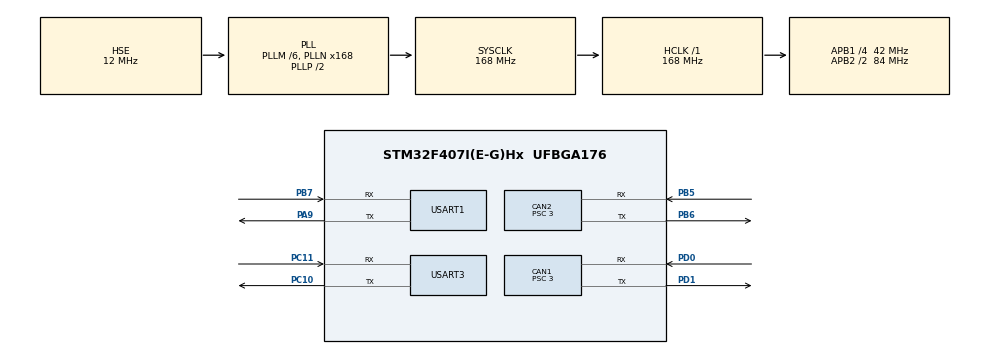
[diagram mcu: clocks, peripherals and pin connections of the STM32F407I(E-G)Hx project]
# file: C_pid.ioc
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CAN1.BS1=CAN_BS1_10TQ
CAN1.BS2=CAN_BS2_3TQ
CAN1.CalculateBaudRate=1000000
CAN1.CalculateTimeBit=1000
CAN1.CalculateTimeQuantum=71.42857142857143
CAN1.Prescaler=3
CAN2.BS1=CAN_BS1_10TQ
CAN2.BS2=CAN_BS2_3TQ
CAN2.CalculateBaudRate=1000000
CAN2.CalculateTimeBit=1000
CAN2.CalculateTimeQuantum=71.42857142857143
CAN2.Prescaler=3
Dma.Request0=USART3_RX
Dma.Request1=USART1_TX
Dma.USART1_TX.1.Direction=DMA_MEMORY_TO_PERIPH
Dma.USART1_TX.1.FIFOMode=DMA_FIFOMODE_DISABLE
Dma.USART1_TX.1.Instance=DMA2_Stream7
Dma.USART1_TX.1.MemDataAlignment=DMA_MDATAALIGN_BYTE
Dma.USART1_TX.1.MemInc=DMA_MINC_ENABLE
Dma.USART1_TX.1.Mode=DMA_NORMAL
Dma.USART1_TX.1.PeriphDataAlignment=DMA_PDATAALIGN_BYTE
Dma.USART1_TX.1.PeriphInc=DMA_PINC_DISABLE
Dma.USART1_TX.1.Priority=DMA_PRIORITY_VERY_HIGH
Dma.USART3_RX.0.Direction=DMA_PERIPH_TO_MEMORY
Dma.USART3_RX.0.FIFOMode=DMA_FIFOMODE_DISABLE
Dma.USART3_RX.0.Instance=DMA1_Stream1
Dma.USART3_RX.0.MemDataAlignment=DMA_MDATAALIGN_BYTE
Dma.USART3_RX.0.MemInc=DMA_MINC_ENABLE
Dma.USART3_RX.0.Mode=DMA_NORMAL
Dma.USART3_RX.0.PeriphDataAlignment=DMA_PDATAALIGN_BYTE
Dma.USART3_RX.0.PeriphInc=DMA_PINC_DISABLE
Dma.USART3_RX.0.Priority=DMA_PRIORITY_VERY_HIGH
Mcu.Family=STM32F4
Mcu.Name=STM32F407I(E-G)Hx
Mcu.Package=UFBGA176
NVIC.CAN1_RX0_IRQn=true\:0\:0\:false\:false\:true\:true\:true\:true
NVIC.CAN2_RX0_IRQn=true\:0\:0\:false\:false\:true\:true\:true\:true
NVIC.DMA1_Stream1_IRQn=true\:0\:0\:false\:false\:true\:false\:true\:true
NVIC.DMA2_Stream7_IRQn=true\:0\:0\:false\:false\:true\:false\:true\:true
NVIC.PriorityGroup=NVIC_PRIORITYGROUP_4
NVIC.USART1_IRQn=true\:0\:0\:false\:false\:true\:false\:true\:true
PA13.Mode=Serial_Wire
PA13.Signal=SYS_JTMS-SWDIO
PA14.Mode=Serial_Wire
PA14.Signal=SYS_JTCK-SWCLK
PA9.Mode=Asynchronous
PA9.Signal=USART1_TX
PB5.Mode=CAN_Activate
PB5.Signal=CAN2_RX
PB6.Mode=CAN_Activate
PB6.Signal=CAN2_TX
PB7.Mode=Asynchronous
PB7.Signal=USART1_RX
PC10.Mode=Asynchronous
PC10.Signal=USART3_TX
PC11.Mode=Asynchronous
PC11.Signal=USART3_RX
PD0.Mode=CAN_Activate
PD0.Signal=CAN1_RX
PD1.Mode=CAN_Activate
PD1.Signal=CAN1_TX
PH0-OSC_IN.Mode=HSE-External-Oscillator
PH0-OSC_IN.Signal=RCC_OSC_IN
PH1-OSC_OUT.Mode=HSE-External-Oscillator
PH1-OSC_OUT.Signal=RCC_OSC_OUT
ProjectManager.HeapSize=0x200
ProjectManager.StackSize=0x400
ProjectManager.TargetToolchain=MDK-ARM V5.32
RCC.48MHZClocksFreq_Value=84000000
RCC.AHBFreq_Value=168000000
RCC.APB1CLKDivider=RCC_HCLK_DIV4
RCC.APB1Freq_Value=42000000
RCC.APB1TimFreq_Value=84000000
RCC.APB2CLKDivider=RCC_HCLK_DIV2
RCC.APB2Freq_Value=84000000
RCC.APB2TimFreq_Value=168000000
RCC.CortexFreq_Value=168000000
RCC.HCLKFreq_Value=168000000
RCC.HSE_VALUE=12000000
RCC.HSI_VALUE=16000000
RCC.LSE_VALUE=32768
RCC.PLLM=6
RCC.PLLN=168
RCC.PLLSourceVirtual=RCC_PLLSOURCE_HSE
RCC.SYSCLKFreq_VALUE=168000000
RCC.SYSCLKSource=RCC_SYSCLKSOURCE_PLLCLK
RCC.VCOOutputFreq_Value=336000000
USART1.VirtualMode=VM_ASYNC
USART3.VirtualMode=VM_ASYNC
board=custom

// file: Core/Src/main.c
/* USER CODE BEGIN Header */
/**
  ******************************************************************************
  * @file           : main.c
  * @brief          : Main program body
  ******************************************************************************
  * @attention
  *
  * Copyright (c) 2025 STMicroelectronics.
  * All rights reserved.
  *
  * This software is licensed under terms that can be found in the LICENSE file
  * in the root directory of this software component.
  * If no LICENSE file comes with this software, it is provided AS-IS.
  *
  ******************************************************************************
  */
/* USER CODE END Header */
#include "main.h"
#include "can.h"
#include "dma.h"
#include "usart.h"
#include "gpio.h"
#include "stdio.h"
#include "stdarg.h"
#include "string.h"
#include "struct_typedef.h"
#include "pid.h"
void usart_printf(const char *format, ...);
/* USER CODE BEGIN Includes */
#include "bsp_can.h"
#include "CAN_receive.h"
/* USER CODE END Includes */

/* USER CODE BEGIN PD */
#define PID_KP 5.0f
#define PID_KI 0.0f
#define PID_KD 0.0f
#define PID_MAX_OUT 16384.0f
#define PID_MAX_IOUT 9000.0f

/* USER CODE END PD */

void SystemClock_Config(void);
/* USER CODE BEGIN PFP */
void speed_motor_init(void);
int16_t speed_motor_loop(int16_t motor_speed_set);
/* USER CODE END PFP */

/* USER CODE BEGIN 0 */
int16_t set_speed = 8000;
const motor_measure_t *local_trigger;
pid_type_def motor_pid;
int16_t motor_given_current = 0;
/* USER CODE END 0 */

int main(void)
{

  /* MCU Configuration--------------------------------------------------------*/

  /* Reset of all peripherals, Initializes the Flash interface and the Systick. */
  HAL_Init();

  /* Configure the system clock */
  SystemClock_Config();

  /* Initialize all configured peripherals */
  MX_GPIO_Init();
  MX_DMA_Init();
  MX_CAN1_Init();
  MX_CAN2_Init();
  MX_USART1_UART_Init();
  MX_USART3_UART_Init();
  /* USER CODE BEGIN 2 */
    can_filter_init();
		local_trigger = get_yaw_gimbal_motor_measure_point();
    speed_motor_init();
    set_speed = 2000;
    HAL_Delay(200);
  /* USER CODE END 2 */

  /* Infinite loop */
  while (1)
  {

    /* USER CODE BEGIN 3 */
//		HAL_UART_Transmit(&huart1, (uint8_t *)"ABCDEF\r\n", 8, 100);
//		HAL_Delay(200);
				motor_given_current = (int16_t)(PID_calc(&motor_pid,(fp32)(local_trigger->speed_rpm),(fp32)(set_speed)));
				CAN_cmd_gimbal(motor_given_current, 0, 0, 0);
				usart_printf("shoot:%d,%d,%d,%d\r\n",local_trigger ->ecd,local_trigger ->speed_rpm,local_trigger ->given_current,set_speed);
        HAL_Delay(5);

	}
  /* USER CODE END 3 */
}

void SystemClock_Config(void)
{
  RCC_OscInitTypeDef RCC_OscInitStruct = {0};
  RCC_ClkInitTypeDef RCC_ClkInitStruct = {0};

  /** Configure the main internal regulator output voltage
  */
  __HAL_RCC_PWR_CLK_ENABLE();
  __HAL_PWR_VOLTAGESCALING_CONFIG(PWR_REGULATOR_VOLTAGE_SCALE1);

  /** Initializes the RCC Oscillators according to the specified parameters
  * in the RCC_OscInitTypeDef structure.
  */
  RCC_OscInitStruct.OscillatorType = RCC_OSCILLATORTYPE_HSE;
  RCC_OscInitStruct.HSEState = RCC_HSE_ON;
  RCC_OscInitStruct.PLL.PLLState = RCC_PLL_ON;
  RCC_OscInitStruct.PLL.PLLSource = RCC_PLLSOURCE_HSE;
  RCC_OscInitStruct.PLL.PLLM = 6;
  RCC_OscInitStruct.PLL.PLLN = 168;
  RCC_OscInitStruct.PLL.PLLP = RCC_PLLP_DIV2;
  RCC_OscInitStruct.PLL.PLLQ = 4;
  if (HAL_RCC_OscConfig(&RCC_OscInitStruct) != HAL_OK)
  {
    Error_Handler();
  }

  /** Initializes the CPU, AHB and APB buses clocks
  */
  RCC_ClkInitStruct.ClockType = RCC_CLOCKTYPE_HCLK|RCC_CLOCKTYPE_SYSCLK
                              |RCC_CLOCKTYPE_PCLK1|RCC_CLOCKTYPE_PCLK2;
  RCC_ClkInitStruct.SYSCLKSource = RCC_SYSCLKSOURCE_PLLCLK;
  RCC_ClkInitStruct.AHBCLKDivider = RCC_SYSCLK_DIV1;
  RCC_ClkInitStruct.APB1CLKDivider = RCC_HCLK_DIV4;
  RCC_ClkInitStruct.APB2CLKDivider = RCC_HCLK_DIV2;

  if (HAL_RCC_ClockConfig(&RCC_ClkInitStruct, FLASH_LATENCY_5) != HAL_OK)
  {
    Error_Handler();
  }
}

/* USER CODE BEGIN 4 */
void speed_motor_init(){
    static const fp32 motor_speed_pid[3] = {PID_KP,PID_KI,PID_KD};
    PID_init(&motor_pid,PID_POSITION,motor_speed_pid,PID_MAX_OUT,PID_MAX_IOUT);
}

int16_t speed_motor_loop(int16_t motor_speed_set)
{
    PID_calc(&motor_pid, (fp32)local_trigger->speed_rpm, (fp32)motor_speed_set);
	  int16_t given_current = (int16_t)(motor_pid.out);
    return (int16_t)motor_pid.out;
}
/* USER CODE END 4 */

void Error_Handler(void)
{
  __disable_irq();
  while (1)
  {
  }
}
